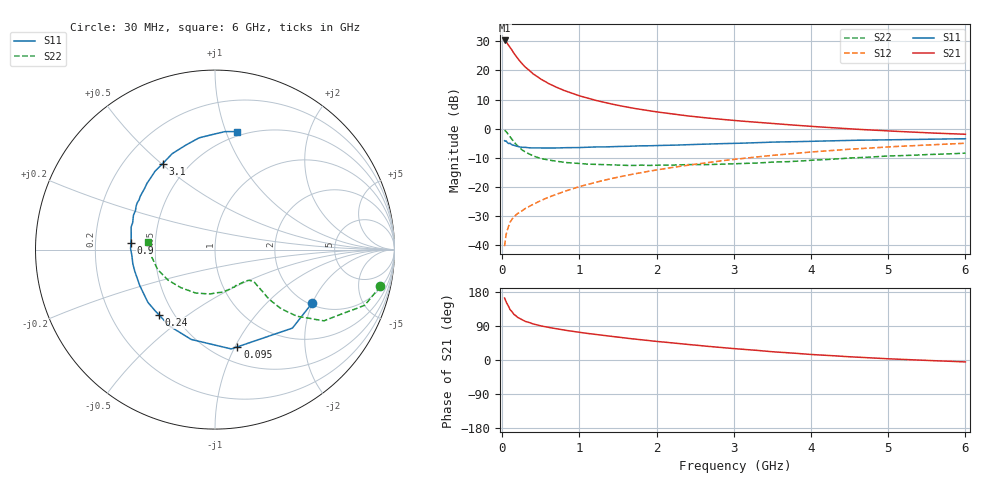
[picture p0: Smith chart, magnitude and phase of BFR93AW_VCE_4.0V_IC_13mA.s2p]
! Infineon Technologies  Discrete & RF Semiconductors
! BFR93AW
! VCE =  4.0 V,  IC =  13 mA
! Common Emitter S-Parameters:  Nov 2015
# GHz  S  MA  R  50
!  f  S11  S21  S12  S22
! GHz  MAG  ANG  MAG  ANG  MAG  ANG  MAG  ANG
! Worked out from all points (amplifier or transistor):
!   206 points, 30 MHz to 6 GHz, reference 50 ohm
!   highest |S21| = 30.3 dB at 30 MHz (marker M1)
!   |S21| within 3 dB of that: start of sweep to 117 MHz
!   unconditionally stable (mu >= 1): 664.9 MHz to 2.237 GHz
!   at 200 MHz: K = 0.57, MSG = 26.6 dB, |S12| = -29.2 dB
!   at 1.56 GHz: K = 1.05, MAG = 10.6 dB, |S12| = -16.4 dB
!   at 6 GHz: K = 0.91, MSG = 1.5 dB, |S12| = -5.0 dB
!   S11 on the Smith chart (normalised r, x): 30 MHz: 2.08, -1.99; 95 MHz: 0.65, -1.02; 240 MHz: 0.41, -0.39; 900 MHz: 0.36, +0.03; 3.1 GHz: 0.36, +0.51; 6 GHz: 0.46, +1.09
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0.03  0.6179 -28.6  32.79 163.4  0.0095 76.1  0.9441 -12.5
0.05  0.6143 -45.4  31.28 152.6  0.0152 71.3  0.8898 -20.4
0.095  0.556 -77.0  25.62 135.4  0.0235 61.9  0.7393 -31.7
0.1  0.5608 -80.7  25.17 133.1  0.0245 61.2  0.7248 -33.2
0.15  0.5178 -104.8  19.74 120.6  0.0305 55.5  0.589 -39.1
0.2  0.4958 -120.8  16.01 112.4  0.0347 54.7  0.4989 -41.7
0.24  0.4798 -130.7  13.82 107.7  0.0373 54.9  0.4477 -42.2
0.26  0.4767 -134.9  12.89 105.5  0.0389 55.2  0.4267 -42.4
0.3  0.4755 -141.9  11.35 101.8  0.0424 56.1  0.3941 -42.3
0.4  0.4646 -154.6  8.718 95.1  0.0496 59.3  0.3383 -41.1
0.5  0.463 -163.7  7.09 90.0  0.0578 61.0  0.3056 -40.3
0.6  0.4646 -170.1  5.953 85.9  0.066 63.1  0.2875 -39.7
0.7  0.4642 -175.9  5.152 82.3  0.074 64.8  0.2745 -40.1
0.9  0.47 175.5  4.046 76.0  0.0913 66.7  0.257 -41.8
1.04  0.4739 170.1  3.534 71.9  0.1038 67.0  0.2487 -44.2
1.2  0.484 164.9  3.08 67.6  0.1185 67.3  0.2427 -47.2
1.5  0.4931 157.1  2.504 60.3  0.1462 67.1  0.2364 -54.3
2.02  0.5125 143.7  1.922 48.6  0.1964 65.0  0.2352 -68.8
3.1  0.5608 121.3  1.346 28.6  0.305 56.7  0.2504 -100.4
4.1  0.6085 104.1  1.071 13.5  0.4045 46.5  0.2887 -135.2
5.1  0.6439 90.2  0.898 2.4  0.4917 35.2  0.3405 -163.6
6  0.6686 79.5  0.799 -5.1  0.5596 25.3  0.3783 173.6
